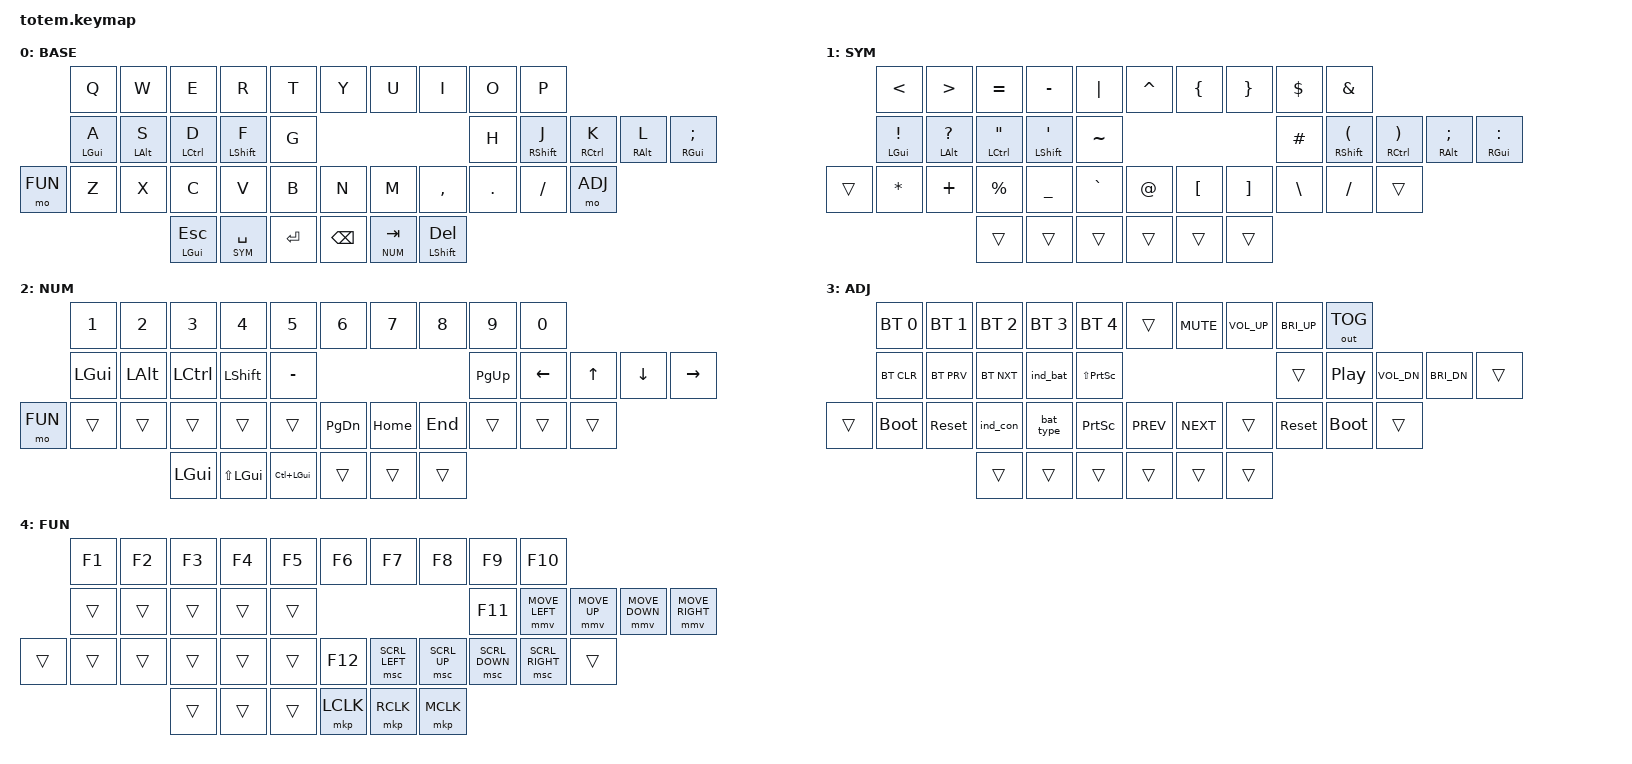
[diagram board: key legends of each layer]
#include <behaviors.dtsi>
#include <dt-bindings/zmk/keys.h>
#include <dt-bindings/zmk/bt.h>
#include <dt-bindings/zmk/outputs.h>
#include <dt-bindings/zmk/pointing.h>
#include <behaviors/rgbled_widget.dtsi>

#define BASE 0
#define SYM  1
#define NUM  2
#define ADJ  3
#define FUN  4

// Physical key positions (see totem-layout.dtsi), used for the bilateral
// home-row-mod guard below:
//  0  1  2  3  4        5  6  7  8  9
// 10 11 12 13 14       15 16 17 18 19
// 20 21 22 23 24 25    26 27 28 29 30 31
//         32 33 34     35 36 37
#define KEYS_L  0 1 2 3 4    10 11 12 13 14    20 21 22 23 24 25
#define KEYS_R  5 6 7 8 9    15 16 17 18 19    26 27 28 29 30 31
#define THUMBS  32 33 34 35 36 37

// Same-hand adjacent-key combos on BASE. COMBO_IDLE keeps fast rolls (e.g.
// "er" over the E+R combo) from firing them mid-word.
#define COMBO_TERM 35
#define COMBO_IDLE 100
#define COMBO(name, keys, binding) \
    combo_##name { \
        timeout-ms = <COMBO_TERM>; \
        require-prior-idle-ms = <COMBO_IDLE>; \
        key-positions = <keys>; \
        bindings = <binding>; \
        layers = <BASE>; \
    };

// Upstream &lt has no quick-tap-ms, so holding a thumb key after tapping it
// re-enters the layer instead of repeating the tap. Space is the most-tapped
// key on the board; this makes hold-to-repeat work on Space/Esc/Tab.
// Flavor stays tap-preferred: with `balanced`, rolling from Space into the
// next word's first letter resolves as a hold and fires SYM.
&lt {
    quick-tap-ms = <175>;
};

// Same gap on upstream &mt: makes tap-then-hold repeat Esc and Del on the
// LGUI/LSHIFT thumbs.
&mt {
    quick-tap-ms = <175>;
};

/ {
    behaviors {
        // Timer-less home-row mods: with `balanced` plus the positional guard
        // and hold-trigger-on-release, an opposite-hand keypress resolves the
        // hold immediately and the tapping term almost never runs. 200 ms is
        // from a measured calibration: taps p95 112 ms, deliberate holds >200.
        // require-prior-idle-ms is urob's 10500/WPM rule at 75 WPM.
        hml: home_row_mod_left {
            compatible = "zmk,behavior-hold-tap";
            #binding-cells = <2>;
            flavor = "balanced";
            tapping-term-ms = <200>;
            quick-tap-ms = <175>;
            require-prior-idle-ms = <140>;
            bindings = <&kp>, <&kp>;
            hold-trigger-key-positions = <KEYS_R THUMBS>;
            hold-trigger-on-release;
        };

        hmr: home_row_mod_right {
            compatible = "zmk,behavior-hold-tap";
            #binding-cells = <2>;
            flavor = "balanced";
            tapping-term-ms = <200>;
            quick-tap-ms = <175>;
            require-prior-idle-ms = <140>;
            bindings = <&kp>, <&kp>;
            hold-trigger-key-positions = <KEYS_L THUMBS>;
            hold-trigger-on-release;
        };

        // Types each half's battery level ("L87 R64"; "R?" = right half not
        // connected / not reported yet). Defined in src/behaviors/ in this repo.
        bat_type: battery_type {
            compatible = "zmk,behavior-battery-type";
            #binding-cells = <0>;
        };
    };

    combos {
        compatible = "zmk,combos";

        // Cross-hand chord: the two index fingers land less in sync than
        // adjacent fingers on one hand, so it gets a longer window than COMBO.
        combo_caps_word {
            timeout-ms = <50>;
            require-prior-idle-ms = <COMBO_IDLE>;
            key-positions = <13 16>;
            bindings = <&caps_word>;
            layers = <BASE>;
        };

        COMBO(underscore,      1 2, &kp UNDER)
        COMBO(minus,           2 3, &kp MINUS)
        COMBO(double_quote,  11 12, &kp DQT)
        COMBO(single_quote,  12 13, &kp SQT)
        COMBO(home,          16 17, &kp HOME)
        COMBO(end,           17 18, &kp END)
        COMBO(colon,         18 19, &kp COLON)
        COMBO(qmark,         29 30, &kp QMARK)
    };

    keymap {
        compatible = "zmk,keymap";

        base_layer {
            display-name = "BASE";
            bindings = <
                &kp Q        &kp W        &kp E         &kp R         &kp T       &kp Y      &kp U         &kp I         &kp O        &kp P
                &hml LGUI A  &hml LALT S  &hml LCTRL D  &hml LSHFT F  &kp G       &kp H      &hmr RSHFT J  &hmr RCTRL K  &hmr RALT L  &hmr RGUI SEMI
    &mo FUN   &kp Z        &kp X        &kp C         &kp V         &kp B       &kp N      &kp M         &kp COMMA     &kp DOT      &kp FSLH    &mo ADJ
                                          &mt LGUI  ESC   &lt SYM SPACE &kp RET     &kp BSPC   &lt NUM TAB   &mt LSHIFT DEL
            >;
        };


        sym_layer {
            display-name = "SYM";
            bindings = <
                &kp LT      &kp GT      &kp EQUAL   &kp MINUS   &kp PIPE        &kp CARET   &kp LBRC    &kp RBRC    &kp DLLR    &kp AMPS
                &hml LGUI EXCL  &hml LALT QMARK  &hml LCTRL DQT  &hml LSHFT SQT  &kp TILDE       &kp HASH    &hmr RSHFT LPAR  &hmr RCTRL RPAR  &hmr RALT SEMI  &hmr RGUI COLON
    &trans      &kp ASTRK   &kp PLUS    &kp PRCNT   &kp UNDER   &kp GRAVE       &kp AT     &kp LBKT    &kp RBKT    &kp BSLH    &kp FSLH     &trans
                                        &trans      &trans      &trans          &trans      &trans      &trans
            >;
        };

        num_layer {
            display-name = "NUM";
            bindings = <
                &kp N1      &kp N2      &kp N3      &kp N4      &kp N5          &kp N6      &kp N7      &kp N8      &kp N9      &kp N0
                &kp LGUI    &kp LALT    &kp LCTRL   &kp LSHFT   &kp MINUS       &kp PAGE_UP     &kp LEFT  &kp UP  &kp DOWN   &kp RIGHT 
    &mo FUN     &trans      &trans      &trans      &trans      &trans          &kp PAGE_DOWN      &kp HOME    &kp END    &trans    &trans   &trans
                                        &kp LGUI &kp LS(LGUI) &kp LC(LGUI)          &trans      &trans      &trans
            >;
        };

        adjust_layer {
            display-name = "ADJ";
            bindings = <
                &bt BT_SEL 0 &bt BT_SEL 1 &bt BT_SEL 2 &bt BT_SEL 3 &bt BT_SEL 4     &trans  &kp C_MUTE &kp C_VOL_UP &kp C_BRI_UP    &out OUT_TOG
                &bt BT_CLR   &bt BT_PRV   &bt BT_NXT   &ind_bat     &kp LS(PSCRN)           &trans   &kp C_PP   &kp C_VOL_DN &kp C_BRI_DN    &trans
    &trans      &bootloader       &sys_reset  &ind_con     &bat_type &kp  PSCRN       &kp C_PREV  &kp C_NEXT   &trans    &sys_reset     &bootloader      &trans
                                          &trans       &trans       &trans           &trans      &trans       &trans
            >;
        };

        fun_layer {
            display-name = "FUN";
            bindings = <
                &kp F1      &kp F2      &kp F3      &kp F4      &kp F5          &kp F6      &kp F7      &kp F8      &kp F9      &kp F10
                &trans      &trans      &trans      &trans      &trans          &kp F11      &mmv MOVE_LEFT     &mmv MOVE_UP      &mmv MOVE_DOWN      &mmv MOVE_RIGHT
    &trans      &trans      &trans      &trans      &trans      &trans          &kp F12      &msc SCRL_LEFT     &msc SCRL_UP      &msc SCRL_DOWN      &msc SCRL_RIGHT      &trans
                                        &trans      &trans      &trans          &mkp LCLK      &mkp RCLK      &mkp MCLK
            >;
        };
    };
};
